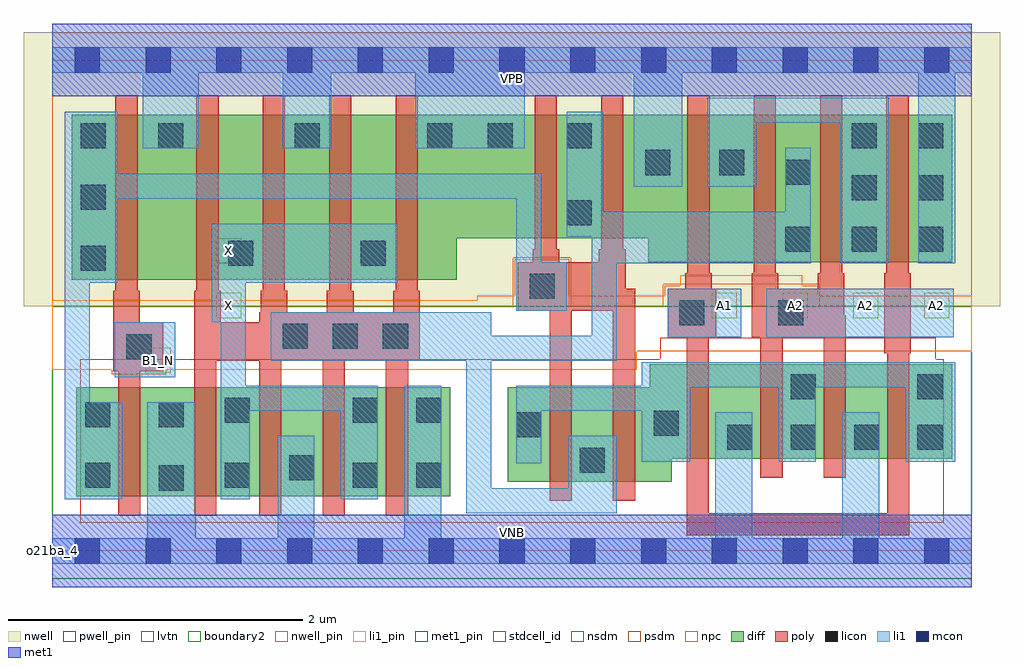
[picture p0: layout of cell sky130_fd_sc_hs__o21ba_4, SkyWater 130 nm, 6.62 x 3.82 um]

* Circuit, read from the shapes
.subckt sky130_fd_sc_hs__o21ba_4 A1 A2 B1_N VGND VNB VPB VPWR X
XM1 VGND B1_N n1 VNB sky130_fd_pr__nfet_01v8_lvt w=0.74 l=0.15
XM2 X n2 VGND VNB sky130_fd_pr__nfet_01v8_lvt w=0.74 l=0.15 m=4
XM3 n2 n1 n3 VNB sky130_fd_pr__nfet_01v8_lvt w=0.64 l=0.15 m=2
XM4 VGND A1 n3 VNB sky130_fd_pr__nfet_01v8_lvt w=0.64 l=0.15 m=2
XM5 n3 A2 VGND VNB sky130_fd_pr__nfet_01v8_lvt w=0.64 l=0.15 m=2
XM6 VPWR B1_N n1 VPB sky130_fd_pr__pfet_01v8 w=1.12 l=0.15
XM7 X n2 VPWR VPB sky130_fd_pr__pfet_01v8 w=1.12 l=0.15 m=4
XM8 n2 n1 VPWR VPB sky130_fd_pr__pfet_01v8 w=0.84 l=0.15 m=2
XM9 n4 A1 VPWR VPB sky130_fd_pr__pfet_01v8 w=1 l=0.15 m=2
XM10 n2 A2 n4 VPB sky130_fd_pr__pfet_01v8 w=1 l=0.15 m=2
.ends

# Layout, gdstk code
import gdstk
lib = gdstk.Library(unit=1e-6, precision=1e-09)
def R(c, l, rs):  # rectangles x0, y0, x1, y1
    for r in rs: c.add(gdstk.rectangle(r[:2], r[2:], *l))
def A(c, l, x, y, w, h, nx, ny, dx, dy):  # array of equal rectangles
    R(c, l, [(x+i*dx, y+j*dy, x+i*dx+w, y+j*dy+h) for i in range(nx) for j in range(ny)])
def P(c, l, *ps):  # polygons
    for p in ps: c.add(gdstk.Polygon(p, *l))
nwell_pin = (64, 16)
nwell = (64, 20)
diff = (65, 20)
poly = (66, 20)
licon = (66, 44)
li1_pin = (67, 16)
li1 = (67, 20)
mcon = (67, 44)
met1_pin = (68, 16)
met1 = (68, 20)
stdcell_id = (81, 4)
nsdm = (93, 44)
psdm = (94, 20)
npc = (95, 20)
pwell_pin = (122, 16)
lvtn = (125, 44)
boundary2 = (236, 0)

sky130_fd_sc_hs__o21ba_4 = lib.new_cell('sky130_fd_sc_hs__o21ba_4')
R(sky130_fd_sc_hs__o21ba_4, nwell_pin, [(0,3.085,6.24,3.33)])
R(sky130_fd_sc_hs__o21ba_4, nwell, [(-0.19,1.66,6.43,3.52)])
R(sky130_fd_sc_hs__o21ba_4, diff, [(0.165,0.37,2.7,1.11)])
P(sky130_fd_sc_hs__o21ba_4, diff, [(6.105,2.96),(0.135,2.96),(0.135,1.84),(2.745,1.84),(2.745,2.12),(4.045,2.12),(4.045,1.96),(6.105,1.96)],
  [(6.105,1.265),(4.055,1.265),(4.055,1.11),(3.09,1.11),(3.09,0.47),(4.205,0.47),(4.205,0.625),(6.105,0.625)])
P(sky130_fd_sc_hs__o21ba_4, poly, [(0.755,1.55),(0.595,1.55),(0.595,1.765),(0.58,1.765),(0.58,3.09),(0.43,3.09),(0.43,1.765),(0.415,1.765),(0.415,1.22),(0.45,1.22),(0.45,0.24),(0.6,0.24),(0.6,1.22),(0.755,1.22)],
  [(2.495,1.765),(2.48,1.765),(2.48,3.09),(2.33,3.09),(2.33,1.765),(2.315,1.765),(2.315,1.62),(2.045,1.62),(2.045,1.765),(2.03,1.765),(2.03,3.09),(1.88,3.09),(1.88,1.765),(1.865,1.765),(1.865,1.62),(1.595,1.62),(1.595,1.765),(1.58,1.765),(1.58,3.09),(1.43,3.09),(1.43,1.765),(1.415,1.765),(1.415,1.62),(1.405,1.62),(1.405,1.55),(1.145,1.55),(1.145,1.765),(1.13,1.765),(1.13,3.09),(0.98,3.09),(0.98,1.765),(0.965,1.765),(0.965,0.24),(1.115,0.24),(1.115,1.29),(1.405,1.29),(1.405,0.24),(1.555,0.24),(1.555,1.29),(1.835,1.29),(1.835,0.24),(1.985,0.24),(1.985,1.29),(2.265,1.29),(2.265,0.24),(2.415,0.24),(2.415,1.29),(2.495,1.29)],
  [(5.825,1.885),(5.81,1.885),(5.81,3.09),(5.66,3.09),(5.66,1.885),(5.645,1.885),(5.645,1.34),(5.665,1.34),(5.665,0.255),(4.455,0.255),(4.455,1.45),(4.505,1.45),(4.505,1.78),(4.475,1.78),(4.475,1.885),(4.46,1.885),(4.46,3.09),(4.31,3.09),(4.31,1.885),(4.295,1.885),(4.295,1.78),(4.175,1.78),(4.175,1.45),(4.305,1.45),(4.305,0.105),(5.815,0.105),(5.815,1.34),(5.825,1.34)],
  [(5.385,1.6),(5.375,1.6),(5.375,1.885),(5.36,1.885),(5.36,3.09),(5.21,3.09),(5.21,1.885),(5.195,1.885),(5.195,1.78),(4.925,1.78),(4.925,1.885),(4.91,1.885),(4.91,3.09),(4.76,3.09),(4.76,1.885),(4.745,1.885),(4.745,1.45),(4.805,1.45),(4.805,0.495),(4.955,0.495),(4.955,1.45),(5.235,1.45),(5.235,0.495),(5.385,0.495)],
  [(3.955,1.78),(3.89,1.78),(3.89,2.045),(3.875,2.045),(3.875,3.09),(3.725,3.09),(3.725,2.045),(3.71,2.045),(3.71,1.96),(3.44,1.96),(3.44,2.045),(3.425,2.045),(3.425,3.09),(3.275,3.09),(3.275,2.045),(3.26,2.045),(3.26,1.96),(3.16,1.96),(3.16,1.63),(3.375,1.63),(3.375,0.34),(3.525,0.34),(3.525,1.63),(3.805,1.63),(3.805,0.34),(3.955,0.34)])
A(sky130_fd_sc_hs__o21ba_4, licon, 4.58, 0.685, 0.17, 0.17, 4, 1, 0.43, 0)
A(sky130_fd_sc_hs__o21ba_4, licon, 1.565, 1.37, 0.17, 0.17, 3, 1, 0.34, 0)
A(sky130_fd_sc_hs__o21ba_4, licon, 0.195, 1.9, 0.17, 0.17, 1, 3, 0, 0.415)
A(sky130_fd_sc_hs__o21ba_4, licon, 4.975, 2.03, 0.17, 0.17, 3, 1, 0.45, 0)
R(sky130_fd_sc_hs__o21ba_4, licon, [(0.725,0.41,0.895,0.58), (0.225,0.43,0.395,0.6), (1.17,0.43,1.34,0.6), (2.04,0.43,2.21,0.6), (2.47,0.43,2.64,0.6), (1.61,0.48,1.78,0.65), (3.58,0.53,3.75,0.7), (3.15,0.77,3.32,0.94), (4.08,0.78,4.25,0.95), (0.225,0.84,0.395,1.01), (0.725,0.84,0.895,1.01), (1.17,0.87,1.34,1.04), (2.04,0.87,2.21,1.04), (2.47,0.87,2.64,1.04), (5.01,1.03,5.18,1.2), (5.87,1.03,6.04,1.2), (0.505,1.3,0.675,1.47), (4.255,1.53,4.425,1.7), (4.925,1.53,5.095,1.7), (3.24,1.71,3.41,1.88), (1.195,1.935,1.365,2.105), (2.095,1.935,2.265,2.105), (3.49,2.21,3.66,2.38), (5.425,2.38,5.595,2.55), (5.875,2.38,6.045,2.55), (4.975,2.485,5.145,2.655), (4.025,2.55,4.195,2.72), (4.525,2.55,4.695,2.72), (0.72,2.73,0.89,2.9), (1.645,2.73,1.815,2.9), (2.545,2.73,2.715,2.9), (2.955,2.73,3.125,2.9), (3.49,2.73,3.66,2.9), (5.425,2.73,5.595,2.9), (5.875,2.73,6.045,2.9)])
A(sky130_fd_sc_hs__o21ba_4, li1_pin, 4.475, 1.58, 0.17, 0.17, 4, 1, 0.48, 0)
R(sky130_fd_sc_hs__o21ba_4, li1_pin, [(0.635,1.21,0.805,1.38), (1.115,1.58,1.285,1.75), (1.115,1.95,1.285,2.12)])
R(sky130_fd_sc_hs__o21ba_4, li1, [(0.425,1.18,0.835,1.55), (4.175,1.45,4.675,1.78), (4.845,1.45,6.115,1.78)])
P(sky130_fd_sc_hs__o21ba_4, li1, [(0,-0.085),(0,0.085),(0.645,0.085),(0.645,1.01),(0.975,1.01),(0.975,0.085),(1.53,0.085),(1.53,0.78),(1.78,0.78),(1.78,0.085),(2.39,0.085),(2.39,1.12),(2.64,1.12),(2.64,0.085),(4.5,0.085),(4.5,0.94),(4.75,0.94),(4.75,0.085),(5.36,0.085),(5.36,0.94),(5.61,0.94),(5.61,0.085),(6.24,0.085),(6.24,-0.085)],
  [(0,3.245),(0,3.415),(6.24,3.415),(6.24,3.245),(6.125,3.245),(6.125,1.95),(5.875,1.95),(5.875,3.245),(4.275,3.245),(4.275,2.47),(3.945,2.47),(3.945,3.245),(3.205,3.245),(3.205,2.73),(2.465,2.73),(2.465,3.245),(1.895,3.245),(1.895,2.73),(1.565,2.73),(1.565,3.245),(0.995,3.245),(0.995,2.73),(0.615,2.73),(0.615,3.245)],
  [(0.445,2.56),(3.32,2.56),(3.32,1.96),(3.49,1.96),(3.49,1.63),(3.15,1.63),(3.15,2.39),(0.445,2.39),(0.445,1.82),(0.255,1.82),(0.255,1.01),(0.475,1.01),(0.475,0.35),(0.085,0.35),(0.085,2.98),(0.445,2.98)],
  [(3.74,2.3),(4.975,2.3),(4.975,2.735),(5.145,2.735),(5.145,1.95),(3.83,1.95),(3.83,1.29),(2.98,1.29),(2.98,0.425),(3.5,0.425),(3.5,0.78),(3.83,0.78),(3.83,0.255),(2.81,0.255),(2.81,1.29),(1.485,1.29),(1.485,1.62),(2.98,1.62),(2.98,1.46),(3.66,1.46),(3.66,2.13),(3.49,2.13),(3.49,2.98),(3.74,2.98)],
  [(4.93,0.605),(4.93,1.11),(4.33,1.11),(4.33,0.605),(4,0.605),(4,0.95),(3.32,0.95),(3.32,0.595),(3.15,0.595),(3.15,1.12),(4,1.12),(4,1.28),(6.125,1.28),(6.125,0.605),(5.79,0.605),(5.79,1.11),(5.18,1.11),(5.18,0.605)],
  [(2.345,2.22),(2.345,1.82),(1.315,1.82),(1.315,1.12),(2.21,1.12),(2.21,0.35),(1.96,0.35),(1.96,0.95),(1.34,0.95),(1.34,0.35),(1.145,0.35),(1.145,1.55),(1.085,1.55),(1.085,2.22)],
  [(5.345,1.95),(5.345,2.905),(4.775,2.905),(4.775,2.47),(4.445,2.47),(4.445,3.075),(5.675,3.075),(5.675,1.95)])
A(sky130_fd_sc_hs__o21ba_4, mcon, 0.155, -0.085, 0.17, 0.17, 13, 2, 0.48, 3.33)
R(sky130_fd_sc_hs__o21ba_4, met1_pin, [(0,0,6.24,0.245), (0,3.085,6.24,3.33)])
R(sky130_fd_sc_hs__o21ba_4, met1, [(0,-0.245,6.24,0.245), (0,3.085,6.24,3.575)])
R(sky130_fd_sc_hs__o21ba_4, stdcell_id, [(0,0,6.24,3.33)])
R(sky130_fd_sc_hs__o21ba_4, nsdm, [(0,-0.19,6.24,1.66)])
P(sky130_fd_sc_hs__o21ba_4, psdm, [(6.24,3.52),(0,3.52),(0,1.66),(3.13,1.66),(3.13,1.99),(3.52,1.99),(3.52,1.66),(4.145,1.66),(4.145,1.81),(5.205,1.81),(5.205,1.66),(6.24,1.66)])
P(sky130_fd_sc_hs__o21ba_4, npc, [(6.24,1.73),(5.195,1.73),(5.195,1.8),(5.09,1.8),(5.09,1.87),(4.26,1.87),(4.26,1.8),(4.155,1.8),(4.155,1.73),(3.51,1.73),(3.51,1.98),(3.14,1.98),(3.14,1.73),(2.885,1.73),(2.885,1.7),(0,1.7),(0,1.23),(0.405,1.23),(0.405,1.2),(0.775,1.2),(0.775,1.23),(3.965,1.23),(3.965,1.355),(6.24,1.355)])
R(sky130_fd_sc_hs__o21ba_4, pwell_pin, [(0,0,6.24,0.245)])
P(sky130_fd_sc_hs__o21ba_4, lvtn, [(6.05,1.3),(5.995,1.3),(5.995,1.445),(4.125,1.445),(4.125,1.3),(0.19,1.3),(0.19,0.19),(6.05,0.19)])
R(sky130_fd_sc_hs__o21ba_4, boundary2, [(0,0,6.24,3.33)])
sky130_fd_sc_hs__o21ba_4.add(gdstk.Label('o21ba_4', (0,0), layer=83, texttype=44))
sky130_fd_sc_hs__o21ba_4.add(gdstk.Label('VNB', (3.12,0.123), layer=64, texttype=59))
sky130_fd_sc_hs__o21ba_4.add(gdstk.Label('VPB', (3.12,3.208), layer=64, texttype=5))
sky130_fd_sc_hs__o21ba_4.add(gdstk.Label('VPWR', (3.12,3.208), layer=68, texttype=5))
sky130_fd_sc_hs__o21ba_4.add(gdstk.Label('VGND', (3.12,0.123), layer=68, texttype=5))
sky130_fd_sc_hs__o21ba_4.add(gdstk.Label('A1', (4.56,1.665), layer=67, texttype=5))
sky130_fd_sc_hs__o21ba_4.add(gdstk.Label('A2', (5.04,1.665), layer=67, texttype=5))
sky130_fd_sc_hs__o21ba_4.add(gdstk.Label('A2', (5.52,1.665), layer=67, texttype=5))
sky130_fd_sc_hs__o21ba_4.add(gdstk.Label('A2', (6,1.665), layer=67, texttype=5))
sky130_fd_sc_hs__o21ba_4.add(gdstk.Label('B1_N', (0.72,1.295), layer=67, texttype=5))
sky130_fd_sc_hs__o21ba_4.add(gdstk.Label('X', (1.2,1.665), layer=67, texttype=5))
sky130_fd_sc_hs__o21ba_4.add(gdstk.Label('X', (1.2,2.035), layer=67, texttype=5))

lib.write_gds('sky130_fd_sc_hs__o21ba_4.gds')
